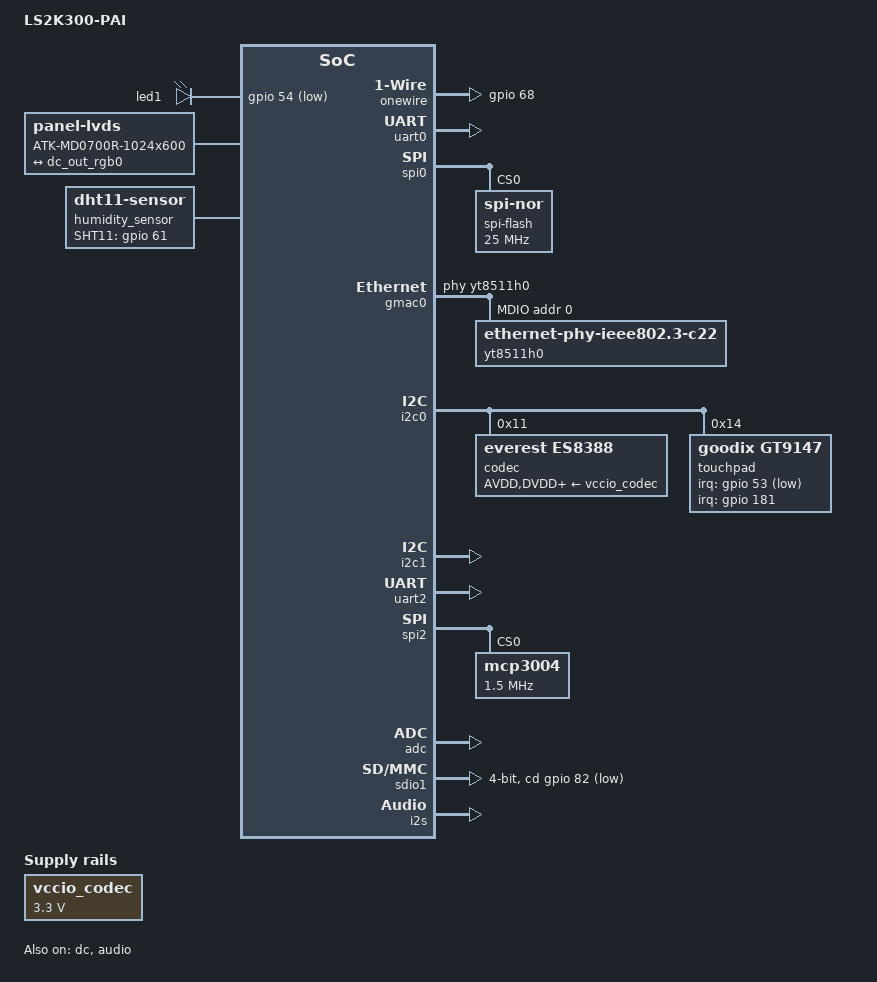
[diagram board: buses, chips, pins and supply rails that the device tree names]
#include <dt-bindings/gpio/gpio.h>
#include <dt-bindings/pwm/pwm.h>
#include <dt-bindings/input/linux-event-codes.h>
#include <dt-bindings/interrupt-controller/irq.h>

#include "loongson2k300.dtsi"
#include "loongson_panel_param.dtsi"

/ {
	model = "LS2K300-PAI";

	chosen {
		stdout-path = "serial0:115200n8";
		bootargs = "earlycon";
	};

	/* not need memory node, we get memory info from boot params. */
	//memory {
	//	name = "memory";
	//	device_type = "memory";
	//	reg =  <0 0x00200000 0 0x0ee00000
	//		0 0x90000000 0 0x10000000>;
	//};

	reserved-memory {
		#address-cells = <2>;
		#size-cells = <2>;
		ranges;

		linux,cma {
			compatible = "shared-dma-pool";
			reusable;
			size = <0 0x02000000>;
			linux,cma-default;
		};
	};

	leds {
		compatible = "gpio-leds";

		led1 {
			label = "led1";
			gpios = <&gpio 54 GPIO_ACTIVE_LOW>;
			linux,default-trigger = "heartbeat";
			default-state = "on";
		};
	};

	panel: dvo-connector@0 {
		#address-cells = <1>;
		#size-cells = <0>;
		compatible = "panel-lvds", "auo,b101ean01";
		//backlight = <&lcd_backlight>;

		/* lcd power on control gpio */
		// enable-gpios = <&pioA 3 GPIO_ACTIVE_HIGH>;
		// power-supply = <&vdd_lcd>;
#if 0	// 4.3' LCD
		width-mm = <223>;
		height-mm = <125>;
		label = "ATK-MD0430R-800x480";
		data-mapping = "jeida-24";

		panel-timing {
			clock-frequency = <27000000>;
			hactive = <800>;
			vactive = <480>;
			hsync-len = <40>;
			hfront-porch = <48>;
			hback-porch = <40>;
			vfront-porch = <13>;
			vback-porch = <32>;
			vsync-len = <1>;
			de-active = <1>;
			hsync-active = <0>;
			vsync-active = <0>;
			pixelclk-active = <0>;
		};
#else	// 7' LCD
		width-mm = <180>;
		height-mm = <110>;
		label = "ATK-MD0700R-1024x600";
		data-mapping = "jeida-24";

		panel-timing {
			clock-frequency = <51200000>;
			hactive = <1024>;
			vactive = <600>;
			hsync-len = <20>;
			hfront-porch = <160>;
			hback-porch = <140>;
			vfront-porch = <12>;
			vback-porch = <20>;
			vsync-len = <3>;
			de-active = <1>;
			hsync-active = <0>;
			vsync-active = <0>;
			pixelclk-active = <0>;
		};
#endif
		port@0 {
			reg = <0>;

			#address-cells = <1>;
			#size-cells = <0>;

			dvo_connector_in: endpoint@0 {
				reg = <0>;
				remote-endpoint = <&dc_out_rgb0>;
			};
		};
	};

	vccio_codec: 3_3V{
		compatible = "regulator-fixed";
		regulator-name = "VCC_IO";
		regulator-min-microvolt = <3300000>;
		regulator-max-microvolt = <3300000>;
		regulator-always-on;
	};

	humidity_sensor {
		compatible = "dht11-sensor";
		SHT11-gpios = <&gpio 61 GPIO_ACTIVE_HIGH>;
		status = "okay";
	};

	// 虽然这个时钟在从模式下没用，但 es8388 驱动必须指定这个时钟
	es8388_clk: es8388-clock {
		compatible = "fixed-clock";
		clock-frequency = <11289600>;
		#clock-cells = <1>;
	};

	onewire {
		compatible = "w1-gpio";
		gpios = <&gpio 68 GPIO_ACTIVE_HIGH>;
	};
};

&uart0 {
	status = "okay";
};

&spi0 {
	status = "okay";

	spi-flash@0 {
		compatible = "jedec,spi-nor";
		spi-max-frequency = <25000000>;
		reg = <0>;
	};
};

&gmac0 {
	status = "okay";
	phy-handle = <&yt8511h0>;
	mdio {
		compatible = "snps,dwmac-mdio";
		#address-cells = <1>;
		#size-cells = <0>;

		yt8511h0: ethernet-phy@0 {
			compatible = "ethernet-phy-ieee802.3-c22";
			reg = <0>;
			motorcomm,led0_cfg = <0x40>; //千兆常亮
			motorcomm,led1_cfg = <0x30>; //百兆 十兆常亮
			motorcomm,led2_cfg = <0x2600>; //有数据时闪烁
		};
	};
};

&dc {
	status = "ok";

	ports {
		#address-cells = <1>;
		#size-cells = <0>;

		port@0 {
			reg = <0>;
			dc_out_rgb0: endpoint {
				remote-endpoint = <&dvo_connector_in>;
			};
		};
	};
};

&i2c0 {
	status = "ok";

	codec: es8388@11{
		compatible = "everest,es8388";
		reg = <0x11>;
		AVDD-supply = <&vccio_codec>;
		DVDD-supply = <&vccio_codec>;
		HPVDD-supply = <&vccio_codec>;
		PVDD-supply = <&vccio_codec>;
		clocks = <&es8388_clk 0>;
	};

	touchpad: gt9147@14 {
		compatible = "goodix,gt9147";
		reg = <0x14>;
		// 2K300 GPIO 支持中断控制
		// 暂时PCB布局有问题，所以随便写个引脚
		// GPIO 中断号为 vhwirq-base + pinnum (181 = 128 + 53)
		interrupt-parent = <&gpio>;
		interrupts = <181 IRQ_TYPE_EDGE_FALLING>;
		irq-gpios = <&gpio 53 GPIO_ACTIVE_LOW>;
	};
};

&i2c1 {
	status = "ok";
};

// &i2c2 {
// 	status = "okay";
// };

&uart2 {
	status = "ok";
};

// &can0 {
// 	status = "okay";
// };

// &can1 {
// 	status = "okay";
// };

// &can2 {
// 	status = "okay";
// };

// &can3 {
// 	status = "okay";
// };

// &spi1 {
// 	status = "okay";

// 	spidev0@0 {
// 		compatible = "rohm,dh2228fv";
// 		reg = <0>;
// 		spi-max-frequency = <50000000>;
// 	};
// };

&spi2 {
	status = "ok";

	mcp3004@0 {
		compatible = "mcp3004";
		reg = <0>;
		spi-max-frequency = <1500000>;
	};
};

&adc {
	status = "okay";
};

&rtc0 {
	status = "disable";
};

&sdio1 {
	pinctrl-0 = <&sdio1_pins>;
	pinctrl-names = "default";
	cap-sd-highspeed;
	cap-mmc-highspeed;
	bus-width = <4>;
	cd-gpios = <&gpio 82 GPIO_ACTIVE_LOW>;
	status = "okay";
};

&i2s {
	status = "okay";
};

&audio {
	status = "okay";
};

&sound {
	status = "okay";
};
